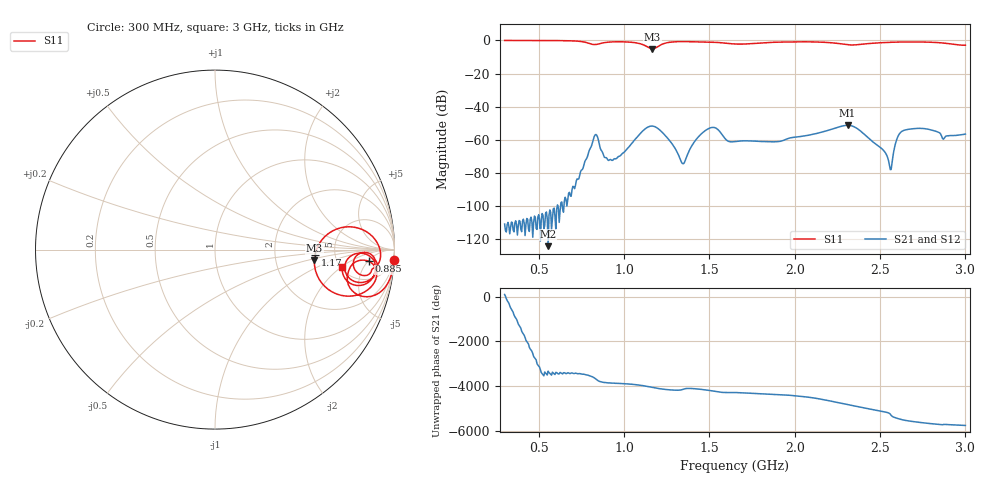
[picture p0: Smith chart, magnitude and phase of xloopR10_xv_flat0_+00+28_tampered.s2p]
! xloopR10_xv_flat0_+00+28_tampered, gap C 0.80 pF
! simulated by sim/fixtures_fdtd.py (S12 = S21, S22 not computed)
# HZ S RI R 50
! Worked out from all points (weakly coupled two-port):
!   541 points, 300 MHz to 3 GHz, reference 50 ohm
!   highest |S21| = -51.34 dB at 2.31 GHz (marker M1); lowest = -124.4 dB at 555 MHz (marker M2)
!   lowest |S11| = -5.1 dB at 1.165 GHz (marker M3), VSWR 3.51, Z = 170 - j29.4 ohm
!   |S11| at or under -10 dB: nowhere
!   |S22| runs from - to - dB; largest |S21 - S12| = 0
!   S11 on the Smith chart (normalised r, x): 300 MHz: 1, -33; 885 MHz: 11, -5; 1.17 GHz: 3.49, -0.30; 3 GHz: 5.24, -2.04
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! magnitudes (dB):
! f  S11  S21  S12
! 300 MHz  0.0  -111.1  -111.1
! 555 MHz  -0.1  -124.4  -124.4
! 750 MHz  -0.7  -78.4  -78.4
! 830 MHz  -2.5  -57.2  -57.2
! 885 MHz  -1.3  -70.7  -70.7
! 960 MHz  -0.8  -70.9  -70.9
! 1.165 GHz  -5.1  -51.8  -51.8
! 1.17 GHz  -5.1  -51.8  -51.8
! 1.2 GHz  -3.6  -53.4  -53.4
! 1.345 GHz  -0.7  -74.6  -74.6
! 1.42 GHz  -0.9  -60.2  -60.2
! 1.5 GHz  -1.1  -53.1  -53.1
! 1.65 GHz  -2.1  -61.1  -61.1
! 2.1 GHz  -0.9  -56.9  -56.9
! 2.31 GHz  -2.6  -51.3  -51.3
! 2.51 GHz  -1.4  -65.5  -65.5
! 2.55 GHz  -1.2  -72.9  -72.9
! 2.565 GHz  -1.1  -78.1  -78.1
! 2.6 GHz  -1.0  -59.2  -59.2
! 2.64 GHz  -0.9  -54.4  -54.4
! 2.875 GHz  -1.6  -59.3  -59.3
! 3 GHz  -2.9  -56.7  -56.7
